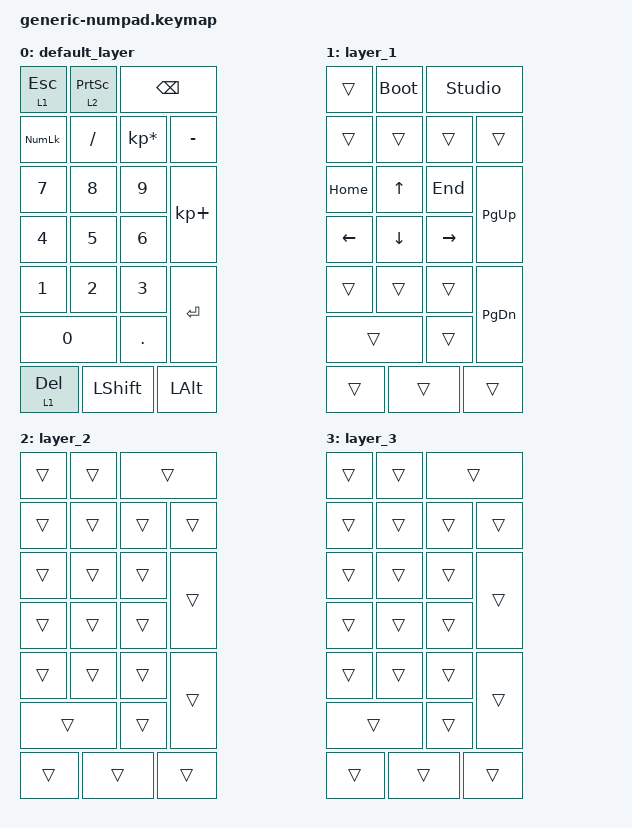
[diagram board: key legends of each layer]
#include <behaviors.dtsi>
#include <dt-bindings/zmk/keys.h>

// ------------------default-----------------
// | LAYERSFT |    /    |    *    |    -    |
// |    7     |    8    |    9    |    +    |
// |    4     |    5    |    6    |         |
// |    1     |    2    |    3    |  ENTER  |
// |          |    0    |         |    .    |
// ----------------------------functions-------------------------------
// |  LAYERSFT  |    NOP             |    NOP    |   Bluetooth PREV   |
// |    NOP     |    LAYERSFT        |    NOP    |   Bluetooth Next   |
// |    NOP     |    OUT_TOG         |    NOP    |                    |
// |Bluetooth 0 |    Bluetooth 1     |Bluetooth 2|   reset            |
// |            |    BluetoothCLR    |           |   NOP              |
// --------------------action layer------------------
// |     NOP   |     NOP   |     NOP   |     NOP    |
// |     NOP   |     NOP   |     NOP   |            |
// |Arrow Left |     NOP   |Arrow Right|     NOP    |
// |     NOP   |     NOP   |     NOP   |     NOP    |
// |           |     NOP   |           | Bootloader |

/ {
    keymap {
        compatible = "zmk,keymap";

        default_layer {
            bindings = <
&lt 1 ESCAPE  &lt 2 PRINTSCREEN  &kp BACKSPACE  &kp KP_NUMLOCK  &kp SLASH  &kp KP_MULTIPLY  &kp MINUS  &kp N7  &kp N8  &kp N9  &kp KP_PLUS  &kp N4  &kp N5  &kp N6  &kp N1  &kp N2  &kp N3  &kp RET  &kp N0  &kp DOT  &lt 1 DEL  &kp LEFT_SHIFT  &kp LEFT_ALT
            >;
        };

        layer_1 {
            bindings = <
&trans  &bootloader  &studio_unlock  &trans  &trans  &trans  &trans  &kp HOME  &kp UP  &kp END  &kp PG_UP  &kp LEFT  &kp DOWN  &kp RIGHT  &trans  &trans  &trans  &kp PG_DN  &trans  &trans  &trans  &trans  &trans
            >;
        };

        layer_2 {
            bindings = <
&trans  &trans  &trans  &trans  &trans  &trans  &trans  &trans  &trans  &trans  &trans  &trans  &trans  &trans  &trans  &trans  &trans  &trans  &trans  &trans  &trans  &trans  &trans
            >;
        };

        layer_3 {
            bindings = <
&trans  &trans  &trans  &trans  &trans  &trans  &trans  &trans  &trans  &trans  &trans  &trans  &trans  &trans  &trans  &trans  &trans  &trans  &trans  &trans  &trans  &trans  &trans
            >;
        };
    };
};
